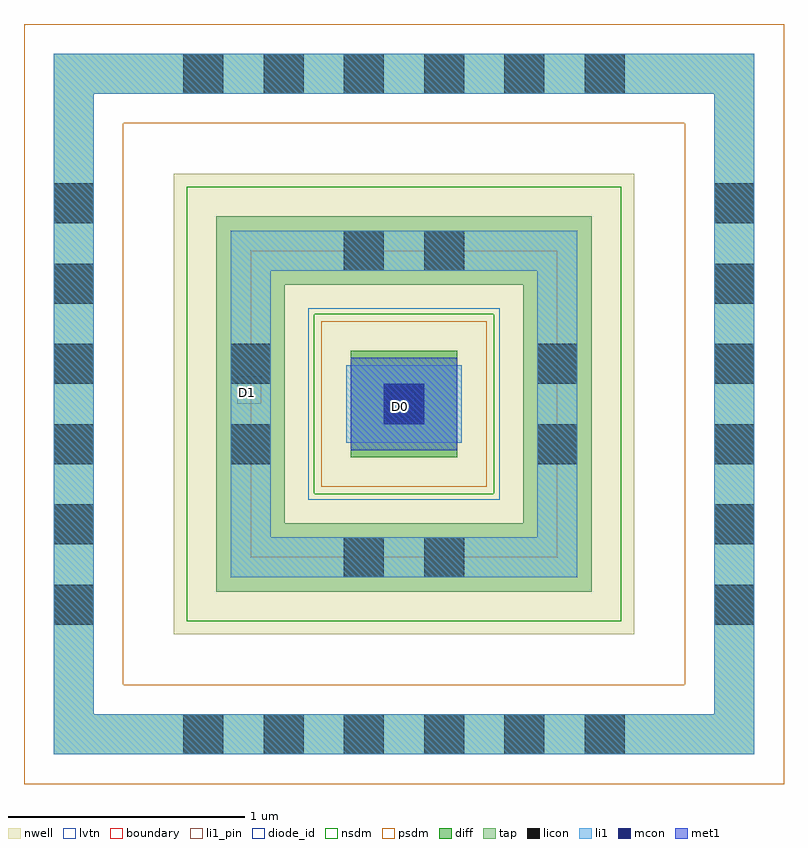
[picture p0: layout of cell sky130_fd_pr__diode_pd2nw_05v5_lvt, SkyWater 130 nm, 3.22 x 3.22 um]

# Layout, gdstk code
import gdstk
lib = gdstk.Library(unit=1e-6, precision=1e-09)
def R(c, l, rs):  # rectangles x0, y0, x1, y1
    for r in rs: c.add(gdstk.rectangle(r[:2], r[2:], *l))
def A(c, l, x, y, w, h, nx, ny, dx, dy):  # array of equal rectangles
    R(c, l, [(x+i*dx, y+j*dy, x+i*dx+w, y+j*dy+h) for i in range(nx) for j in range(ny)])
nwell = (64, 20)
diff = (65, 20)
tap = (65, 44)
licon = (66, 44)
li1_pin = (67, 16)
li1 = (67, 20)
mcon = (67, 44)
met1 = (68, 20)
diode_id = (81, 23)
nsdm = (93, 44)
psdm = (94, 20)
lvtn = (125, 44)
boundary = (235, 4)

sky130_fd_pr__diode_pd2n = lib.new_cell('sky130_fd_pr__diode_pd2nw_05v5_lvt')
R(sky130_fd_pr__diode_pd2n, nwell, [(-10.955,-5.375,-9.005,-3.425)])
R(sky130_fd_pr__diode_pd2n, diff, [(-10.205,-4.625,-9.755,-4.175)])
R(sky130_fd_pr__diode_pd2n, tap, [(-11.465,-5.885,-8.495,-5.715), (-11.465,-5.715,-11.295,-3.085), (-8.665,-5.715,-8.495,-3.085), (-10.775,-5.195,-9.185,-4.905), (-10.775,-4.905,-10.485,-3.895), (-9.475,-4.905,-9.185,-3.895), (-10.775,-3.895,-9.185,-3.605), (-11.465,-3.085,-8.495,-2.915)])
A(sky130_fd_pr__diode_pd2n, licon, -10.915, -5.885, 0.17, 0.17, 6, 2, 0.34, 2.8)
A(sky130_fd_pr__diode_pd2n, licon, -11.465, -5.335, 0.17, 0.17, 1, 6, 0, 0.34)
A(sky130_fd_pr__diode_pd2n, licon, -8.665, -5.335, 0.17, 0.17, 1, 6, 0, 0.34)
R(sky130_fd_pr__diode_pd2n, licon, [(-10.235,-5.135,-10.065,-4.965), (-9.895,-5.135,-9.725,-4.965), (-10.715,-4.655,-10.545,-4.485), (-9.415,-4.655,-9.245,-4.485), (-10.065,-4.485,-9.895,-4.315), (-10.715,-4.315,-10.545,-4.145), (-9.415,-4.315,-9.245,-4.145), (-10.235,-3.835,-10.065,-3.665), (-9.895,-3.835,-9.725,-3.665)])
R(sky130_fd_pr__diode_pd2n, li1_pin, [(-10.034,-4.456,-9.933,-4.341), (-10.686,-4.398,-10.585,-4.283)])
R(sky130_fd_pr__diode_pd2n, li1, [(-11.465,-5.885,-8.495,-5.715), (-11.465,-5.715,-11.295,-3.085), (-8.665,-5.715,-8.495,-3.085), (-10.715,-5.135,-9.245,-4.965), (-10.715,-4.965,-10.545,-3.835), (-9.415,-4.965,-9.245,-3.835), (-10.225,-4.565,-9.735,-4.235), (-10.715,-3.835,-9.245,-3.665), (-11.465,-3.085,-8.495,-2.915)])
R(sky130_fd_pr__diode_pd2n, mcon, [(-10.065,-4.485,-9.895,-4.315)])
R(sky130_fd_pr__diode_pd2n, met1, [(-10.205,-4.595,-9.755,-4.205)])
R(sky130_fd_pr__diode_pd2n, diode_id, [(-10.205,-4.625,-9.755,-4.175)])
R(sky130_fd_pr__diode_pd2n, nsdm, [(-10.9,-5.32,-9.06,-4.78), (-10.9,-4.78,-10.36,-4.02), (-9.6,-4.78,-9.06,-4.02), (-10.9,-4.02,-9.06,-3.48)])
R(sky130_fd_pr__diode_pd2n, psdm, [(-11.59,-6.01,-8.37,-5.59), (-11.59,-5.59,-11.17,-3.21), (-8.79,-5.59,-8.37,-3.21), (-10.33,-4.75,-9.63,-4.05), (-11.59,-3.21,-8.37,-2.79)])
R(sky130_fd_pr__diode_pd2n, lvtn, [(-10.385,-4.805,-9.575,-3.995)])
R(sky130_fd_pr__diode_pd2n, boundary, [(-10.63,-5.05,-9.33,-3.75)])
sky130_fd_pr__diode_pd2n.add(gdstk.Label('D0', (-9.993,-4.41), layer=67, texttype=5))
sky130_fd_pr__diode_pd2n.add(gdstk.Label('D1', (-10.645,-4.352), layer=67, texttype=5))

lib.write_gds('sky130_fd_pr__diode_pd2nw_05v5_lvt.gds')
